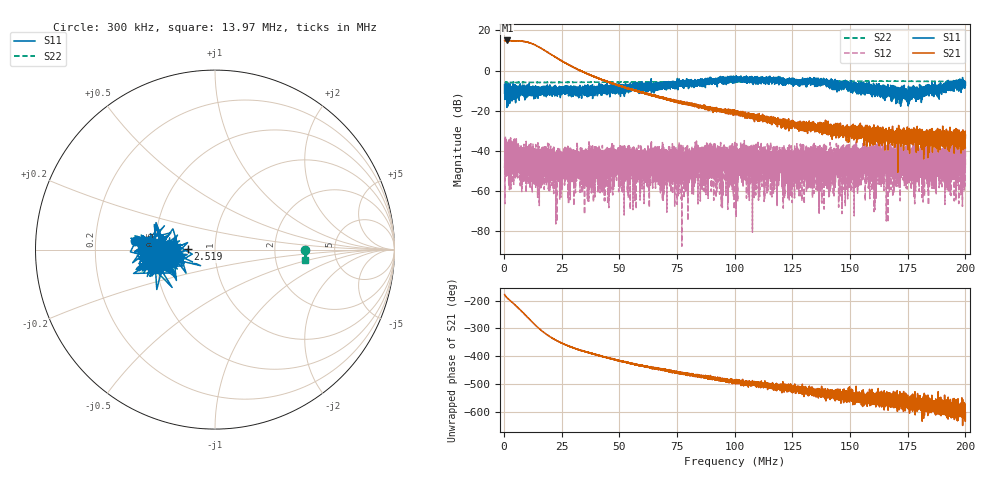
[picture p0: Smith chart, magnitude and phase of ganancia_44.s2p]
# Hz S DB R 50
! CMT, M5065, 19127446, 24.2.4/2
! Date: 10/29/2024 12:41:18 PM
! Data: Format (Calibration Info)
! Freq	S11:dB/Ang(F2)	S21:dB/Ang(F2)	S12:dB/Ang(F2)	S22:dB/Ang(F2)
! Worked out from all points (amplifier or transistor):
!   9000 points, 300 kHz to 200 MHz, reference 50 ohm
!   highest |S21| = 15.0 dB at 1.543 MHz (marker M1)
!   |S21| within 3 dB of that: start of sweep to 14.72 MHz
!   unconditionally stable (mu >= 1): start of sweep to end of sweep
!   at 33.59 MHz: K = 99.54, MAG = 1.3 dB, |S12| = -48.9 dB
!   at 100.2 MHz: K = 288.89, MAG = -17.1 dB, |S12| = -41.4 dB
!   at 200 MHz: K = 850.63, MAG = -29.4 dB, |S12| = -38.0 dB
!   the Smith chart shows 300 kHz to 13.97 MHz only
!   S11 on the Smith chart (normalised r, x): 300 kHz: 0.38, +0.04; 2.519 MHz: 0.74, +0.00; 13.97 MHz: 0.50, +0.04
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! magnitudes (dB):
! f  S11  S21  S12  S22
! 300 kHz  -7.0  14.8  -47.9  -6.0
! 1.543 MHz  -7.8  15.0  -42.0  -6.0
! 2.519 MHz  -16.4  14.8  -47.7  -6.0
! 13.97 MHz  -9.5  12.4  -56.3  -5.9
! 33.59 MHz  -11.7  -0.3  -48.9  -5.9
! 66.87 MHz  -9.7  -13.2  -41.7  -5.7
! 77.84 MHz  -7.7  -16.5  -47.3  -5.6
! 100.2 MHz  -4.5  -20.4  -41.4  -5.6
! 111.8 MHz  -5.2  -23.1  -45.1  -5.6
! 121.7 MHz  -4.4  -26.5  -44.9  -5.5
! 129 MHz  -6.4  -26.3  -42.2  -5.4
! 133.4 MHz  -4.7  -26.0  -47.2  -5.3
! 153.4 MHz  -7.7  -29.6  -46.9  -5.3
! 157.3 MHz  -6.1  -30.1  -40.9  -5.3
! 160.4 MHz  -8.3  -29.9  -70.3  -5.3
! 162.4 MHz  -8.5  -29.6  -48.8  -5.3
! 166.7 MHz  -10.0  -35.7  -47.6  -5.3
! 174.6 MHz  -10.5  -34.0  -38.7  -5.3
! 191.9 MHz  -8.2  -35.8  -40.2  -5.4
! 193.9 MHz  -6.8  -32.5  -40.2  -5.4
! 199 MHz  -6.9  -34.2  -43.3  -5.4
! 200 MHz  -5.8  -32.1  -38.0  -5.5
